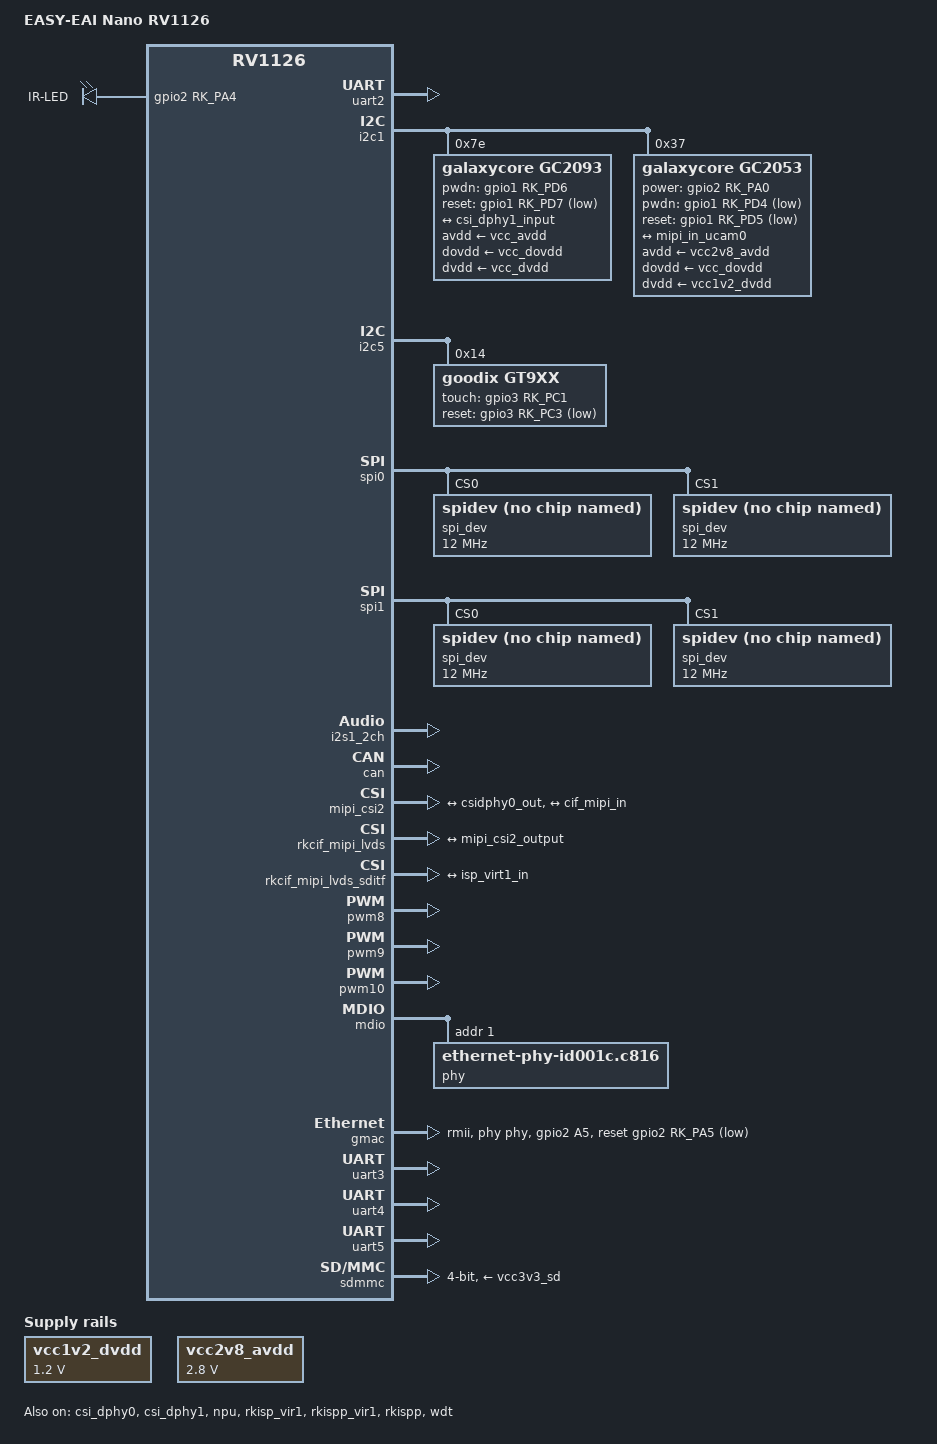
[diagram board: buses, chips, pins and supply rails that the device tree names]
// SPDX-License-Identifier: (GPL-2.0+ OR MIT)
/*
 * Copyright (c) 2020 Rockchip Electronics Co., Ltd.
 */
/dts-v1/;
#include "rv1126.dtsi"
#include "rv1126-evb-v12.dtsi"
/ {
	model = "EASY-EAI Nano RV1126";
	compatible = "easy-eai,nano-rv1126", "rockchip,rv1126-evb-ddr3-v13", "rockchip,rv1126";

	aliases {
		ethernet0 = &gmac;
		serial2 = &uart2;
	};

	chosen {
		stdout-path = "serial2:1500000n8";
		bootargs = "earlycon=uart8250,mmio32,0xff570000 console=ttyS2,1500000n8 rootwait";
	};

	/*pwmleds {
		compatible = "pwm-leds";

		pwmi_rgb {
			label = "PWM-RGB";
			pwms = <&pwm1 0 25000 0>;
			max-brightness = <100>;
		};
	};*/

	gpioleds {
		pinctrl-names = "default";
		pinctrl-0 = <&ir_led_io>;
		compatible = "gpio-leds";

		ir_led {
			label = "IR-LED";
			gpios = <&gpio2 RK_PA4 GPIO_ACTIVE_HIGH>;
			default-state = "on";
		};
	};

	vcc1v2_dvdd: vcc1v2-dvdd {
		compatible = "regulator-fixed";
		regulator-name = "vcc1v2_dvdd";
		regulator-min-microvolt = <1200000>;
		regulator-max-microvolt = <1200000>;
	};

	vcc2v8_avdd: vcc2v8-avdd {
		compatible = "regulator-fixed";
		regulator-name = "vcc2v8_avdd";
		regulator-min-microvolt = <2800000>;
		regulator-max-microvolt = <2800000>;
	};
};

&uart2 {
	status = "okay";
};

&wireless_wlan {
	wifi_chip_type = "ap6255";
	status = "disabled";
};

&csi_dphy0 {
	status = "okay";
	ports {
		port@0 {
			mipi_in_ucam0: endpoint@1 {
				remote-endpoint = <&ucam_out0>;
				data-lanes = <1 2>;
			};
		};
		port@1 {
			csidphy0_out: endpoint@0 {
				remote-endpoint = <&mipi_csi2_input>;
				data-lanes = <1 2>;
			};
		};
	};
};

&csi_dphy1 {
	status = "okay";
	ports {
		port@0 {
			csi_dphy1_input: endpoint@1 {
				remote-endpoint = <&ucam_out1>;
				data-lanes = <1 2>;
			};
		};
		port@1 {
			csi_dphy1_output: endpoint@0 {
				remote-endpoint = <&isp_in>;
				data-lanes = <1 2>;
			};
		};
	};
};

&i2c1 {
	/delete-node/ ar0230@10;
	/delete-node/ ov4689@36;
	/delete-node/ os04a10@36;
	gc2093: gc2093@7e {
		compatible = "galaxycore,gc2093";
		reg = <0x7e>;
		clocks = <&cru CLK_MIPICSI_OUT>;
		clock-names = "xvclk";
		power-domains = <&power RV1126_PD_VI>;
		pinctrl-names = "default";
		pinctrl-0 = <&mipicsi_clk1>;
		avdd-supply = <&vcc_avdd>;
		dovdd-supply = <&vcc_dovdd>;
		dvdd-supply = <&vcc_dvdd>;
		pwdn-gpios = <&gpio1 RK_PD6 GPIO_ACTIVE_HIGH>;
		reset-gpios = <&gpio1 RK_PD7 GPIO_ACTIVE_LOW>;
		rockchip,camera-module-index = <1>;
		rockchip,camera-module-facing = "front";
		rockchip,camera-module-name = "YT-RV1109-2-V1";
		rockchip,camera-module-lens-name = "40IR-2MP-F20";
		//ir-cut = <&cam_ircut0>;
		port {
			ucam_out1: endpoint {
				remote-endpoint = <&csi_dphy1_input>;
				data-lanes = <1 2>;
			};
		};
	};

	gc2053: gc2053@37 { //IR
		compatible = "galaxycore,gc2053";
		reg = <0x37>;

		clocks = <&cru CLK_MIPICSI_OUT>;
		clock-names = "xvclk";

		power-domains = <&power RV1126_PD_VI>;
		pinctrl-names = "rockchip,camera_default";
		pinctrl-0 = <&mipicsi_clk0>;
		power-gpios = <&gpio2 RK_PA0 GPIO_ACTIVE_HIGH>;
		pwdn-gpios = <&gpio1 RK_PD4 GPIO_ACTIVE_LOW>;
		reset-gpios = <&gpio1 RK_PD5 GPIO_ACTIVE_LOW>;

		avdd-supply = <&vcc2v8_avdd>;
		dovdd-supply = <&vcc_dovdd>;
		dvdd-supply = <&vcc1v2_dvdd>;

		rockchip,camera-module-index = <0>;
		rockchip,camera-module-facing = "front";
		rockchip,camera-module-name = "YT-RV1109-2-V1";
		rockchip,camera-module-lens-name = "40IR-2MP-F20";
		port {
			ucam_out0: endpoint {
				remote-endpoint = <&mipi_in_ucam0>;
				data-lanes = <1 2>;
			};
		};
	};
};

&i2c3 {
	status = "disabled";

};

&i2c5 {
	status = "okay";
	pinctrl-0 = <&i2c5m1_xfer>;
	/delete-node/ gt1x@14;

	gt9xx@14 {
		pinctrl-names = "default";
		pinctrl-0 = <&rst_touch_easy &int_touch_easy>;
		compatible = "goodix,gt9xx";
		reg = <0x14>;
		touch-gpio = <&gpio3 RK_PC1 IRQ_TYPE_LEVEL_LOW>;
		reset-gpio = <&gpio3 RK_PC3 GPIO_ACTIVE_LOW>;
		max-x = <720>;
		max-y = <1280>;
		tp-size = <911>;
		status = "okay";
	};
};

&spi0 {
	status = "okay";
	num-cs = <2>;
	pinctrl-names = "default", "high_speed";
	pinctrl-0 = <&spi0m2_pins &spi0m2_cs0 &spi0m2_cs1>;
	pinctrl-1 = <&spi0m2_pins &spi0m2_cs0 &spi0m2_cs1>;

	spi_dev@0 {
		compatible = "rockchip,spidev";
		reg = <0>;
		spi-max-frequency = <12000000>;
		spi-lsb-first;
	};

	spi_dev@1 {
		compatible = "rockchip,spidev";
		reg = <1>;
		spi-max-frequency = <12000000>;
		spi-lsb-first;
	};
};

&spi1 {
	status = "okay";
	num-cs = <2>;

	spi_dev@0 {
		compatible = "rockchip,spidev";
		reg = <0>;
		spi-max-frequency = <12000000>;
		spi-lsb-first;
	};

	spi_dev@1 {
		compatible = "rockchip,spidev";
		reg = <1>;
		spi-max-frequency = <12000000>;
		spi-lsb-first;
	};
};

&i2s1_2ch {
	pinctrl-0 = <&i2s1m2_sclk
		&i2s1m2_lrck
		&i2s1m2_sdi
		&i2s1m2_sdo>;
	status = "okay";
	#sound-dai-cells = <0>;
};

&rk809_sound {
	simple-audio-card,cpu {
		sound-dai = <&i2s1_2ch>;
	};
};

&can {
	pinctrl-names = "default";
	pinctrl-0 = <&canm0_pins>;
	status = "okay";
};

&cam_ircut0 {
	status = "disabled";
};

&isp_reserved {
	size = <0x5c00000>;
};

&mipi_csi2 {
	status = "okay";
	ports {
		port@0 {
			mipi_csi2_input: endpoint@1 {
				remote-endpoint = <&csidphy0_out>;
				data-lanes = <1 2>;
			};
		};

		port@1 {
			mipi_csi2_output: endpoint@0 {
				remote-endpoint = <&cif_mipi_in>;
				data-lanes = <1 2>;
			};
		};
	};
};

&rk809 {
	regulators {
		vcc_dvdd: LDO_REG6 {
			regulator-min-microvolt = <1200000>;
			regulator-max-microvolt = <1200000>;
		};

		vcc_avdd: LDO_REG7 {
			regulator-min-microvolt = <3300000>;
			regulator-max-microvolt = <3300000>;
		};
	};
};

&npu {
	compatible = "rockchip,rv1126-rknpu";
	clocks = <&cru CLK_CORE_NPU>, <&cru ACLK_NPU>, <&cru HCLK_NPU>,
		 <&cru PCLK_PDNPU>;
	clock-names = "clk_npu", "aclk_npu", "hclk_npu", "pclk_pdnpu";
	interrupt-names = "npu_irq";
	resets = <&cru SRST_NPU_A>, <&cru SRST_NPU_H>, <&cru SRST_NPU>;
	reset-names = "srst_a", "srst_h", "srst_npu";
	rknpu-supply = <&vdd_npu_vepu>;
	status = "okay";
};

&rkcif_mipi_lvds {
	status = "okay";
	port {
		cif_mipi_in: endpoint {
			remote-endpoint = <&mipi_csi2_output>;
			data-lanes = <1 2>;
		};
	};
};

&rkcif_mipi_lvds_sditf {
	status = "okay";

	port {
		cif_sditf: endpoint {
			remote-endpoint = <&isp_virt1_in>;
			data-lanes = <1 2 3 4>;
		};
	};
};

&rkisp_vir0 {
	ports {
		port@0 {
			isp_in: endpoint@0 {
				remote-endpoint = <&csi_dphy1_output>;
			};
		};
	};
};

&rkisp_vir1 {
	status = "okay";
	ports {
		port@0 {
			reg = <0>;
			#address-cells = <1>;
			#size-cells = <0>;

			isp_virt1_in: endpoint@0 {
				reg = <0>;
				remote-endpoint = <&cif_sditf>;
			};
		};
	};
};

&rkispp_vir1 {
	status = "okay";
};

&rkispp {
	status = "okay";
	/* the max input w h and fps of mulit sensor */
	max-input = <1920 1080 30>;
};

&pwm3 {
	status = "disabled";
};

&pwm8 {
	status = "okay";
	pinctrl-0 = <&pwm8m1_pins>;
};

&pwm9 {
	pinctrl-0 = <&pwm9m1_pins>;
	status = "okay";
};

&pwm10 {
	pinctrl-0 = <&pwm10m1_pins>;
	status = "okay";
};

&backlight {
	pwms = <&pwm8 0 25000 0>;
};

&vcc18_lcd_n {
	/delete-property/ gpio;
	/delete-property/ enable-active-high;
	regulator-always-on;
};

&mdio {
	/delete-node/ phy@0;
	phy: phy@1 {
		compatible = "ethernet-phy-id001c.c816";
		reg = <0x1>;
	};
};

&gmac {
	phy-mode = "rmii";
	clock_in_out = "output";

	snps,reset-gpio = <&gpio2 RK_PA5 GPIO_ACTIVE_LOW>;
	snps,reset-active-low;
	snps,reset-delays-us = <0 50000 10000>;

	assigned-clocks = <&cru CLK_GMAC_SRC>, <&cru CLK_GMAC_TX_RX>;
	assigned-clock-parents = <&cru CLK_GMAC_SRC_M1>, <&cru RMII_MODE_CLK>;
	assigned-clock-rates = <50000000>;

	pinctrl-names = "default";
	pinctrl-0 = <&rmiim1_miim &rmiim1_bus2 &rgmiim1_mclkinout_level0 &phy_rst>;

	phy-handle = <&phy>;
	status = "okay";

	/delete-property/ tx_delay;
	/delete-property/ rx_delay;
};

&uart3 {
	pinctrl-names = "default";
	pinctrl-0 = <&uart3m0_xfer>;
	status = "okay";
};

&uart4 {
	pinctrl-names = "default";
	pinctrl-0 = <&uart4m0_xfer>;
	status = "okay";
};

&uart5 {
	pinctrl-names = "default";
	pinctrl-0 = <&uart5m0_xfer>;
	status = "okay";
};

&pmu_io_domains {
	vccio6-supply = <&vcc_3v3>;
};

&sdmmc {
	max-frequency = <50000000>;
	bus-width = <4>;
	cap-sd-highspeed;
	no-sdio;
	no-mmc;
	vmmc-supply = <&vcc3v3_sd>;
	/delete-property/ sd-uhs-sdr12;
	/delete-property/ sd-uhs-sdr25;
	/delete-property/ sd-uhs-sdr104;
	/delete-property/ vqmmc-supply;
};

&sdio_pwrseq {
	clocks = <&rk809 1>;
	clock-names = "ext_clock";
	post-power-on-delay-ms = <200>;
	power-off-delay-us = <500000>;
};

&sfc {
	status = "disabled";
	/delete-node/ flash@0;
};

&wdt {
	status = "okay";
};

&pinctrl {
	pinctrl-names = "default";
	pinctrl-0 = <&gc_rst &gc_pwdn &cam_en>;

	mipi-dsi {
		/omit-if-no-ref/
		rst_lcd: rst-lcd {
			rockchip,pins = <3 RK_PC2 0 &pcfg_pull_up>;
		};
	};
	touch-screen {
		/omit-if-no-ref/
		rst_touch_easy: rst-touch-easy {
			rockchip,pins =
				<3 RK_PC3 RK_FUNC_GPIO &pcfg_pull_up>;
		};
		/omit-if-no-ref/
		int_touch_easy: int-touch-easy {
			rockchip,pins =
				<3 RK_PC1 RK_FUNC_GPIO &pcfg_pull_up>;
		};

		/omit-if-no-ref/
		rst_touch_face: rst-touch-face {
			rockchip,pins =
				<2 RK_PD1 RK_FUNC_GPIO &pcfg_pull_up>;
		};
		/omit-if-no-ref/
		int_touch_face: int-touch-face {
			rockchip,pins =
				<2 RK_PD0 RK_FUNC_GPIO &pcfg_pull_up>;
		};
	};
	mipi-csi {
		/omit-if-no-ref/
		gc_rst: gc-rst {
			rockchip,pins =
				<1 RK_PD5 RK_FUNC_GPIO &pcfg_output_high>;
		};
		/omit-if-no-ref/
		gc_pwdn: gc-pwdn {
			rockchip,pins =
				<1 RK_PD4 RK_FUNC_GPIO &pcfg_output_low>;
		};
		/omit-if-no-ref/
		cam_en: cam-en {
			rockchip,pins =
				<2 RK_PA0 RK_FUNC_GPIO &pcfg_output_high>;
		};
		/omit-if-no-ref/
		ir_led_io: ir-led-io {
			rockchip,pins =
				<2 RK_PA4 RK_FUNC_GPIO &pcfg_pull_none>;
		};
	};
	ethernet {
		/omit-if-no-ref/
		phy_rst: phy-rst {
			rockchip,pins =
				<2 RK_PA5 RK_FUNC_GPIO &pcfg_output_low>;
		};
	};
};

#include "lmo-display.dtsi"

&dsi {
	panel@0 {
		reset-gpios = <&gpio3 RK_PC2 GPIO_ACTIVE_LOW>;
	};
};
